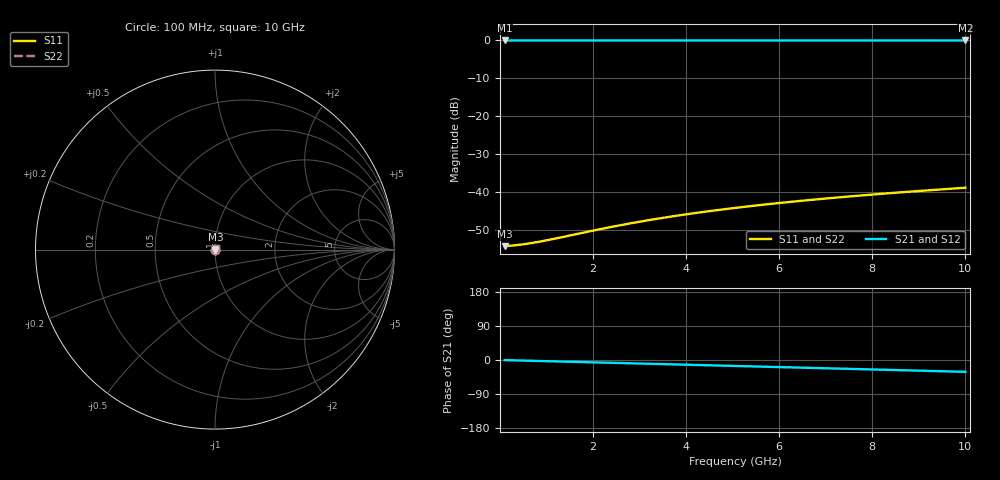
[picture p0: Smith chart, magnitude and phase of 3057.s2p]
# Hz S RI R 50.00
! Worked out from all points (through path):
!   100 points, 100 MHz to 10 GHz, reference 50 ohm
!   highest |S21| = -0.02 dB at 100 MHz (marker M1); lowest = 0.0 dB at 10 GHz (marker M2)
!   group delay of S21, straight-line fit = 8.68 ps
!   lowest |S11| = -54.3 dB at 100 MHz (marker M3), VSWR 1.00, Z = 50.2 + j0.011 ohm
!   |S11| at or under -10 dB: start of sweep to end of sweep
!   |S22| runs from -54.3 to -38.9 dB; largest |S21 - S12| = 0
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1e8  0.00191 0.00011  0.9981 -0.0054  0.9981 -0.0054  0.00191 0.00011
3e8  0.00194 0.000328  0.9979 -0.0162  0.9979 -0.0162  0.00194 0.000328
4e8  0.00195 0.000437  0.9978 -0.0216  0.9978 -0.0216  0.00195 0.000437
6e8  0.00197 0.000655  0.9975 -0.0324  0.9975 -0.0324  0.00197 0.000655
8e8  0.00199 0.000872  0.9971 -0.0432  0.9971 -0.0432  0.00199 0.000872
1e9  0.00201 0.00109  0.9965 -0.054  0.9965 -0.054  0.00201 0.00109
1.2e9  0.00204 0.0013  0.9959 -0.0648  0.9959 -0.0648  0.00204 0.0013
1.8e9  0.00216 0.00194  0.9932 -0.0971  0.9932 -0.0971  0.00216 0.00194
2.2e9  0.00225 0.00235  0.9908 -0.1186  0.9908 -0.1186  0.00225 0.00235
2.6e9  0.00237 0.00276  0.988 -0.1401  0.988 -0.1401  0.00237 0.00276
3e9  0.0025 0.00316  0.9847 -0.1615  0.9847 -0.1615  0.0025 0.00316
3.4e9  0.00265 0.00355  0.981 -0.1829  0.981 -0.1829  0.00265 0.00355
3.8e9  0.00282 0.00394  0.9767 -0.2041  0.9767 -0.2041  0.00282 0.00394
4.2e9  0.003 0.00431  0.972 -0.2253  0.972 -0.2253  0.003 0.00431
4.6e9  0.0032 0.00468  0.9669 -0.2465  0.9669 -0.2465  0.0032 0.00468
5.1e9  0.00347 0.00512  0.9598 -0.2727  0.9598 -0.2727  0.00347 0.00512
5.9e9  0.00395 0.0058  0.9469 -0.3143  0.9469 -0.3143  0.00395 0.0058
6.7e9  0.0045 0.00643  0.9322 -0.3554  0.9322 -0.3554  0.0045 0.00643
7.5e9  0.00511 0.00703  0.9157 -0.3959  0.9157 -0.3959  0.00511 0.00703
8.4e9  0.00586 0.00764  0.895 -0.4406  0.895 -0.4406  0.00586 0.00764
9.2e9  0.00659 0.00814  0.8747 -0.4795  0.8747 -0.4795  0.00659 0.00814
1e10  0.00738 0.0086  0.8527 -0.5176  0.8527 -0.5176  0.00738 0.0086
